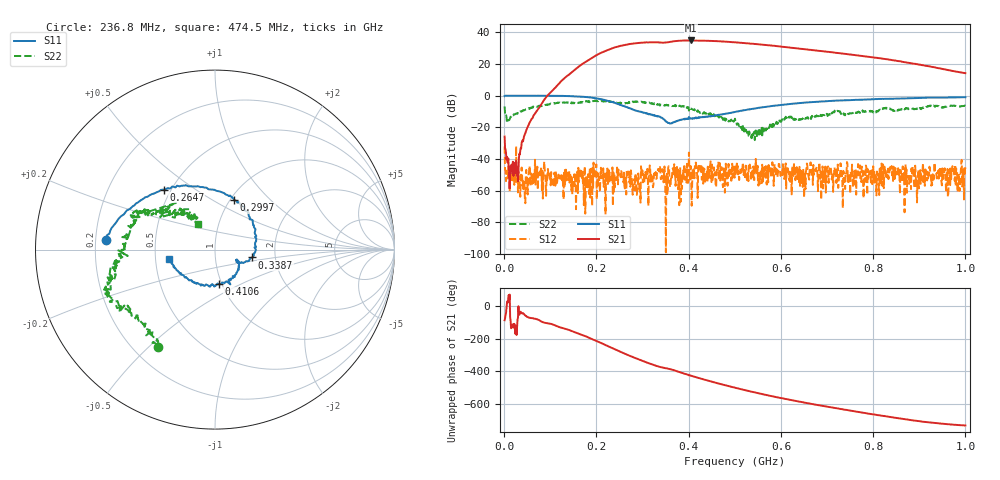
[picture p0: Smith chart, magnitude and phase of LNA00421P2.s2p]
! Created with skrf 1.9.0 (http://scikit-rf.org).
# Hz S RI R 50.0
!freq ReS11 ImS11 ReS21 ImS21 ReS12 ImS12 ReS22 ImS22
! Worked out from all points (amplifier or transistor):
!   1001 points, 1 MHz to 1 GHz, reference 50 ohm
!   highest |S21| = 34.9 dB at 404.6 MHz (marker M1)
!   |S21| within 3 dB of that: 259.3 MHz to 571.8 MHz (312.5 MHz wide, 75.2 % of centre)
!   unconditionally stable (mu >= 1): 34.62 MHz to 57.57 MHz; 234.8 MHz to 400.3 MHz; 400.9 MHz to end of sweep (the widest 3 of 38)
!   at 166.8 MHz: K = 0.91, MSG = 33.5 dB, |S12| = -47.4 dB
!   at 500.5 MHz: K = 1.68, MAG = 34.6 dB, |S12| = -45.0 dB
!   at 1 GHz: K = 2.74, MAG = 22.6 dB, |S12| = -45.4 dB
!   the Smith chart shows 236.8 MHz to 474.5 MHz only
!   S11 on the Smith chart (normalised r, x): 236.8 MHz: 0.24, +0.04; 264.7 MHz: 0.46, +0.38; 299.7 MHz: 1.04, +0.63; 338.7 MHz: 1.52, -0.14; 410.6 MHz: 0.97, -0.39; 474.5 MHz: 0.59, -0.06
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1000000  0.9759 0.00778  0.00186 -0.0512  -0.0234 -0.00877  0.2975 0.3514
1.08892e8  0.5267 -0.8441  -0.7811 -1.491  0.0012 -0.00351  0.4189 -0.3777
1.67833e8  -0.2225 -0.9051  -9.695 -0.6356  -0.00195 0.00116  0.0176 -0.6326
2.07793e8  -0.6625 -0.4259  -15.72 15.11  -0.000776 0.000494  -0.2191 -0.6454
2.36764e8  -0.6076 0.0559  -4.839 32.07  0.000143 -0.00374  -0.3172 -0.5432
2.64736e8  -0.2868 0.3342  18.01 36.9  0.000211 -0.00073  -0.4667 -0.3523
2.99701e8  0.1075 0.2769  43.6 19.21  -0.00433 -0.000585  -0.5804 -0.223
3.18682e8  0.217 0.1352  48.94 3.571  -0.00322 0.000931  -0.5608 -0.112
3.34666e8  0.224 -0.0131  47.57 -9.081  0.000614 0.00452  -0.5251 -0.0357
3.38662e8  0.2074 -0.0438  46.37 -11.79  0.000647 0.00455  -0.5226 -0.0148
3.71629e8  0.132 -0.0754  42.82 -32.05  -0.000871 0.00112  -0.4243 0.1846
4.04596e8  0.0528 -0.1879  21.93 -51.25  0.00131 0.00582  -0.3204 0.2107
4.1059e8  0.0202 -0.1926  17.3 -52.94  0.00357 0.00304  -0.3044 0.1808
4.41559e8  -0.131 -0.1697  -6.6 -54.1  0.00569 0.000639  -0.1949 0.2293
4.74526e8  -0.2559 -0.0509  -27.33 -43.8  0.000853 -0.000967  -0.0938 0.1434
5.005e8  -0.2941 0.0874  -37.88 -31.16  -0.00233 0.00514  -0.1039 0.1563
5.4046e8  -0.2377 0.3055  -42.47 -9.6  0.00459 -0.0036  -0.0516 0.0226
5.88412e8  -0.0508 0.4847  -35.57 11.03  0.00139 -0.00542  -0.1044 -0.0712
6.67333e8  0.3267 0.5364  -13.76 23.89  -0.00312 -0.000371  -0.2279 -0.0387
7.53247e8  0.6316 0.3704  4.045 19.38  0.00102 -0.00267  -0.279 0.00313
8.34166e8  0.7903 0.1306  10.32 9.254  0.00161 -0.00256  -0.3897 0.00992
1e9  0.8045 -0.3993  5.064 -1.005  -0.00444 -0.00303  -0.3275 0.3532
